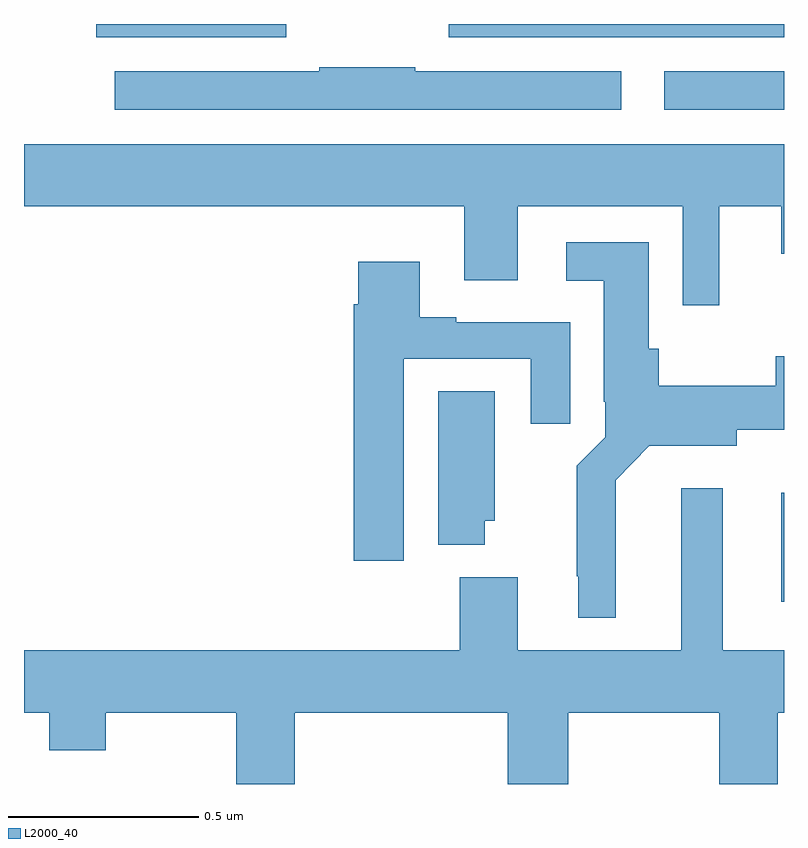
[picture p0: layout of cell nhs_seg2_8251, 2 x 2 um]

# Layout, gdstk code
import gdstk
lib = gdstk.Library(unit=1e-6, precision=1e-09)
def R(c, l, rs):  # rectangles x0, y0, x1, y1
    for r in rs: c.add(gdstk.rectangle(r[:2], r[2:], *l))
def P(c, l, *ps):  # polygons
    for p in ps: c.add(gdstk.Polygon(p, *l))
L2000_40 = (2000, 40)

nhs_seg2_8251 = lib.new_cell('nhs_seg2_8251')
R(nhs_seg2_8251, L2000_40, [(215.993,629.28,216,629.566), (215.685,630.575,216,630.676), (214.19,630.765,214.69,630.8), (215.118,630.765,216,630.8)])
P(nhs_seg2_8251, L2000_40, [(215.572,630.676),(215.03,630.676),(215.03,630.686),(214.777,630.686),(214.777,630.676),(214.239,630.676),(214.239,630.575),(215.572,630.575)],
  [(215.83,630.32),(215.993,630.32),(215.993,630.196),(216,630.196),(216,630.484),(214,630.484),(214,630.32),(215.159,630.32),(215.159,630.126),(215.299,630.126),(215.299,630.32),(215.733,630.32),(215.733,630.06),(215.83,630.06)],
  [(215.557,629.6),(215.646,629.69),(215.875,629.69),(215.875,629.732),(216,629.732),(216,629.926),(215.978,629.926),(215.978,629.848),(215.67,629.848),(215.67,629.946),(215.644,629.946),(215.644,630.226),(215.427,630.226),(215.427,630.125),(215.525,630.125),(215.525,629.806),(215.529,629.806),(215.529,629.712),(215.455,629.638),(215.455,629.347),(215.459,629.347),(215.459,629.237),(215.557,629.237)],
  [(214.999,629.919),(215.333,629.919),(215.333,629.748),(215.437,629.748),(215.437,630.015),(215.137,630.015),(215.137,630.028),(215.041,630.028),(215.041,630.175),(214.88,630.175),(214.88,630.062),(214.868,630.062),(214.868,629.388),(214.999,629.388)],
  [(215.212,629.493),(215.239,629.493),(215.239,629.834),(215.09,629.834),(215.09,629.429),(215.212,629.429)],
  [(214.712,628.988),(215.273,628.988),(215.273,628.8),(215.432,628.8),(215.432,628.988),(215.83,628.988),(215.83,628.8),(215.984,628.8),(215.984,628.988),(216,628.988),(216,629.152),(215.839,629.152),(215.839,629.578),(215.729,629.578),(215.729,629.152),(215.299,629.152),(215.299,629.344),(215.147,629.344),(215.147,629.152),(214,629.152),(214,628.988),(214.067,628.988),(214.067,628.889),(214.215,628.889),(214.215,628.988),(214.559,628.988),(214.559,628.8),(214.712,628.8)])

lib.write_gds('nhs_seg2_8251.gds')
